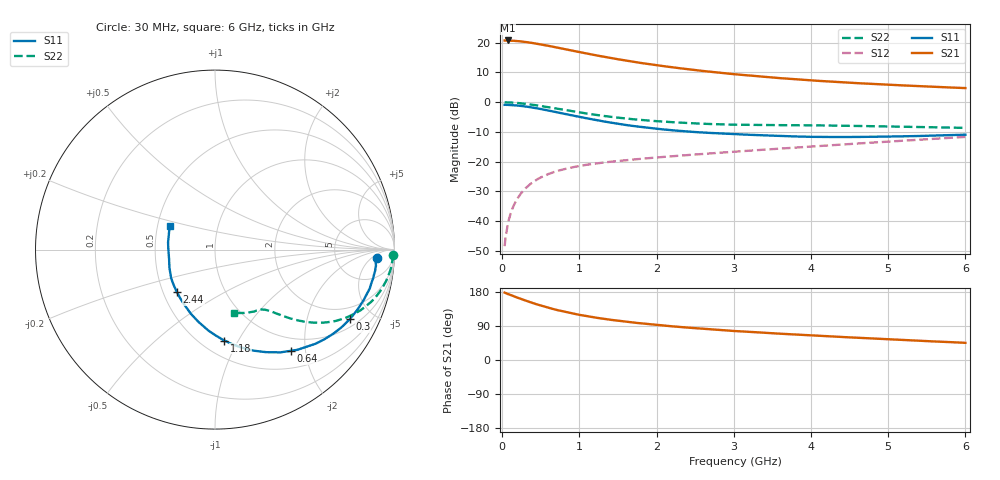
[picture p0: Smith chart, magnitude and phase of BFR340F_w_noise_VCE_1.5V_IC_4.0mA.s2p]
! Infineon Technologies  Discrete & RF Semiconductors
! BFR340F
! VCE =  1.5 V,  IC =  4.0 mA
! Common Emitter S-Parameters:  Nov 2015
# GHz  S  MA  R  50
!  f  S11  S21  S12  S22
! GHz  MAG  ANG  MAG  ANG  MAG  ANG  MAG  ANG
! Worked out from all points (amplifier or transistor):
!   206 points, 30 MHz to 6 GHz, reference 50 ohm
!   highest |S21| = 20.7 dB at 70 MHz (marker M1)
!   |S21| within 3 dB of that: start of sweep to 824.8 MHz
!   unconditionally stable (mu >= 1): 3.251 GHz to end of sweep
!   at 200 MHz: K = 0.10, MSG = 26.4 dB, |S12| = -32.3 dB
!   at 1.56 GHz: K = 0.70, MSG = 16.9 dB, |S12| = -19.6 dB
!   at 6 GHz: K = 1.01, MAG = 7.5 dB, |S12| = -11.7 dB
!   lowest NFmin = 1.00 dB at 900 MHz
!   S11 on the Smith chart (normalised r, x): 30 MHz: 16, -7; 300 MHz: 1.35, -3.65; 640 MHz: 0.77, -1.73; 1.18 GHz: 0.64, -0.88; 2.44 GHz: 0.59, -0.31; 6 GHz: 0.58, +0.17
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0.03  0.9015 -2.8  10.85 177.9  0.0038 89.0  0.9918 -1.6
0.05  0.8989 -4.8  10.8 175.6  0.0061 87.2  0.9906 -2.7
0.07  0.8997 -6.7  10.88 174.2  0.0088 86.7  0.99 -3.8
0.14  0.89 -13.0  10.77 169.0  0.0173 82.5  0.9805 -7.7
0.2  0.8752 -18.6  10.61 164.3  0.0244 79.9  0.9673 -10.9
0.3  0.8451 -27.3  10.26 156.9  0.0356 75.2  0.938 -15.8
0.36  0.8237 -32.3  10 152.7  0.0417 72.7  0.9164 -18.6
0.45  0.7874 -39.5  9.571 146.7  0.0501 69.3  0.8819 -22.3
0.56  0.7386 -47.6  9.01 140.1  0.059 65.5  0.8362 -26.3
0.64  0.7042 -53.2  8.608 135.6  0.0648 63.3  0.8036 -28.9
0.8  0.6385 -63.5  7.815 127.5  0.0748 59.7  0.7407 -33.2
1.04  0.5518 -77.0  6.773 117.7  0.0864 56.0  0.6593 -37.8
1.18  0.5092 -84.1  6.242 112.8  0.0919 54.7  0.619 -39.9
1.4  0.4545 -94.3  5.529 106.2  0.0996 53.3  0.567 -42.5
1.56  0.4207 -101.1  5.099 102.0  0.1047 52.8  0.5373 -43.9
1.78  0.3855 -109.6  4.588 97.0  0.1111 52.5  0.5043 -45.6
2.02  0.3552 -118.0  4.139 92.2  0.1181 52.7  0.4769 -47.0
2.44  0.3185 -131.7  3.531 84.9  0.1302 53.5  0.4429 -49.6
3.1  0.2868 -149.2  2.876 75.5  0.1499 54.9  0.4164 -53.5
4.1  0.2603 -170.3  2.277 63.9  0.1831 57.0  0.4069 -58.1
5.1  0.2653 169.3  1.935 53.8  0.2212 57.8  0.3883 -65.4
6  0.284 152.1  1.722 45.3  0.2604 57.5  0.3691 -73.2
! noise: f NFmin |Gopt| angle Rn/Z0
0.45  1.01  0.55  3  0.35
0.9  1  0.53  12  0.38
1.9  1.26  0.4  21  0.34
2.4  1.35  0.37  30  0.33
